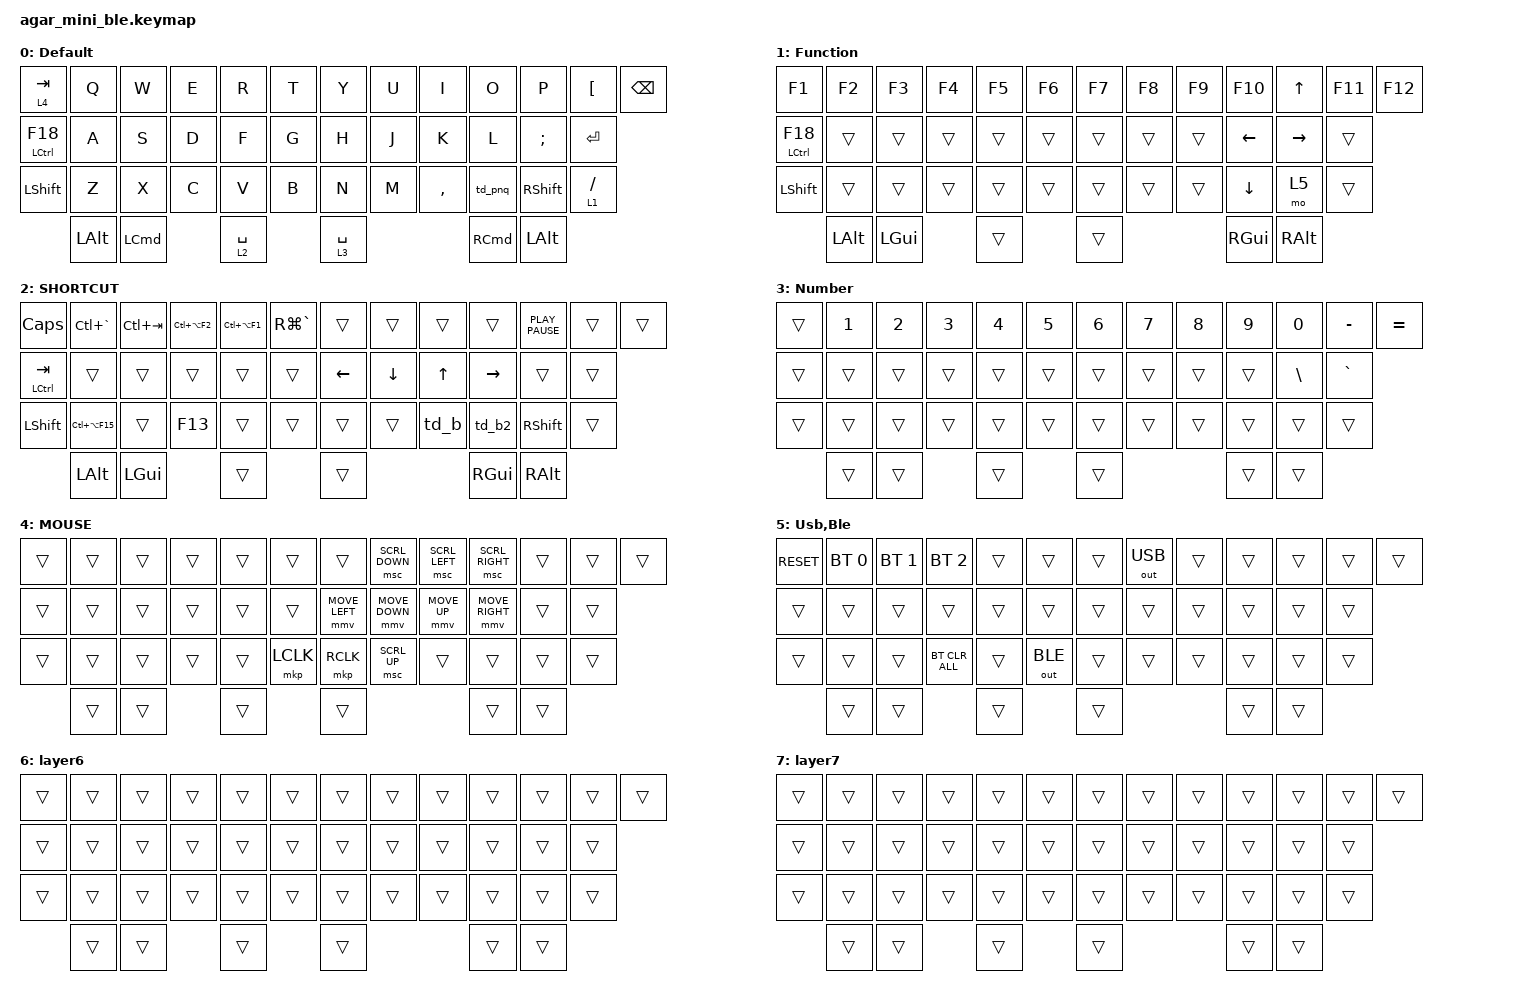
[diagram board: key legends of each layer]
/*
 * Copyright (c) 2021 The ZMK Contributors
 *
 * SPDX-License-Identifier: MIT
 */

#include "./boards/shields/klink_kbd/common.keymap"
#include <behaviors.dtsi>
#include <dt-bindings/zmk/bt.h>
#include <dt-bindings/zmk/keys.h>
#include <dt-bindings/zmk/outputs.h>
#include <dt-bindings/zmk/pointing.h>

/ {
    behaviors {
        hm: homelow_mods {
            compatible = "zmk,behavior-hold-tap";
            label = "HOMELOW_MODS";
            bindings = <&kp>, <&kp>;

            #binding-cells = <2>;
            tapping-term-ms = <200>;
            quick-tap-ms = <130>;
            flavor = "tap-preferred";
        };

        hl: homelow_layer {
            compatible = "zmk,behavior-hold-tap";
            label = "HOMELOW_LAYER";
            bindings = <&mo>, <&kp>;

            #binding-cells = <2>;
            tapping-term-ms = <200>;
            quick-tap-ms = <130>;
            flavor = "tap-preferred";
        };

        htt: htt {
            compatible = "zmk,behavior-hold-tap";
            label = "HTT";
            bindings = <&kp>, <&kp>;

            #binding-cells = <2>;
            tapping-term-ms = <200>;
            quick-tap-ms = <130>;
            flavor = "tap-preferred";
        };

        td_b: td_bracket {
            compatible = "zmk,behavior-tap-dance";
            label = "TD_BRACKET";
            #binding-cells = <0>;
            bindings =
                <&htt LEFT_BRACKET LEFT_PARENTHESIS>,
                <&htt LESS_THAN LEFT_BRACE>;
        };

        td_b2: td_bracket2 {
            compatible = "zmk,behavior-tap-dance";
            label = "TD_BRACKET2";
            #binding-cells = <0>;
            bindings = <&htt RBKT RPAR>, <&htt GT RBRC>;
        };

        td_pnq: td_period,question {
            compatible = "zmk,behavior-tap-dance";
            label = "TD_PERIOD,QUESTION";
            #binding-cells = <0>;
            bindings = <&kp PERIOD>, <&kp SLASH>, <&none>, <&none>;
        };
    };

    combos { compatible = "zmk,combos"; };

    keymap {
        compatible = "zmk,keymap";

        Default {
            bindings = <
&hl 4 TAB             &kp Q         &kp W             &kp E  &kp R        &kp T  &kp Y        &kp U  &kp I      &kp O              &kp P         &kp LEFT_BRACKET  &kp BSPC
&hm LEFT_CONTROL F18  &kp A         &kp S             &kp D  &kp F        &kp G  &kp H        &kp J  &kp K      &kp L              &kp SEMI      &kp RET
&kp LSHFT             &kp Z         &kp X             &kp C  &kp V        &kp B  &kp N        &kp M  &kp COMMA  &td_pnq            &kp RSHIFT    &hl 1 SLASH
                      &kp LEFT_ALT  &kp LEFT_COMMAND         &hl 2 SPACE         &hl 3 SPACE                    &kp RIGHT_COMMAND  &kp LEFT_ALT
            >;
        };

        Function {
            bindings = <
&kp F1                &kp F2    &kp F3    &kp F4  &kp F5  &kp F6  &kp F7  &kp F8  &kp F9  &kp F10   &kp UP     &kp F11  &kp F12
&hm LEFT_CONTROL F18  &trans    &trans    &trans  &trans  &trans  &trans  &trans  &trans  &kp LEFT  &kp RIGHT  &trans
&kp LSHFT             &trans    &trans    &trans  &trans  &trans  &trans  &trans  &trans  &kp DOWN  &mo 5      &trans
                      &kp LALT  &kp LGUI          &trans          &trans                  &kp RGUI  &kp RALT
            >;
        };

        SHORTCUT {
            bindings = <
&kp CAPSLOCK          &kp LC(GRAVE)    &kp LC(TAB)  &kp LC(LA(F2))  &kp LC(LA(F1))  &kp RG(GRAVE)  &trans    &trans    &trans  &trans     &kp K_PLAY_PAUSE  &trans  &trans
&hm LEFT_CONTROL TAB  &trans           &trans       &trans          &trans          &trans         &kp LEFT  &kp DOWN  &kp UP  &kp RIGHT  &trans            &trans
&kp LSHFT             &kp LC(LA(F15))  &trans       &kp F13         &trans          &trans         &trans    &trans    &td_b   &td_b2     &kp RSHFT         &trans
                      &kp LALT         &kp LGUI                     &trans                         &trans                      &kp RGUI   &kp RALT
            >;
        };

        Number {
            bindings = <
&trans  &kp N1  &kp N2  &kp N3  &kp N4  &kp N5  &kp N6  &kp N7  &kp N8  &kp N9  &kp N0    &kp MINUS  &kp EQUAL
&trans  &trans  &trans  &trans  &trans  &trans  &trans  &trans  &trans  &trans  &kp BSLH  &kp GRAVE
&trans  &trans  &trans  &trans  &trans  &trans  &trans  &trans  &trans  &trans  &trans    &trans
        &trans  &trans          &trans          &trans                  &trans  &trans
            >;
        };

        MOUSE {
            bindings = <
&trans  &trans  &trans  &trans  &trans  &trans     &trans          &msc SCRL_DOWN  &msc SCRL_LEFT  &msc SCRL_RIGHT  &trans  &trans  &trans
&trans  &trans  &trans  &trans  &trans  &trans     &mmv MOVE_LEFT  &mmv MOVE_DOWN  &mmv MOVE_UP    &mmv MOVE_RIGHT  &trans  &trans
&trans  &trans  &trans  &trans  &trans  &mkp LCLK  &mkp RCLK       &msc SCRL_UP    &trans          &trans           &trans  &trans
        &trans  &trans          &trans             &trans                                          &trans           &trans
            >;
        };

        Usb,Ble {
            bindings = <
&kp C_RESET  &bt BT_SEL 0  &bt BT_SEL 1  &bt BT_SEL 2    &trans  &trans        &trans  &out OUT_USB  &trans  &trans  &trans  &trans  &trans
&trans       &trans        &trans        &trans          &trans  &trans        &trans  &trans        &trans  &trans  &trans  &trans
&trans       &trans        &trans        &bt BT_CLR_ALL  &trans  &out OUT_BLE  &trans  &trans        &trans  &trans  &trans  &trans
             &trans        &trans                        &trans                &trans                        &trans  &trans
            >;
        };

        layer6 {
            bindings = <
&trans  &trans  &trans  &trans  &trans  &trans  &trans  &trans  &trans  &trans  &trans  &trans  &trans
&trans  &trans  &trans  &trans  &trans  &trans  &trans  &trans  &trans  &trans  &trans  &trans
&trans  &trans  &trans  &trans  &trans  &trans  &trans  &trans  &trans  &trans  &trans  &trans
        &trans  &trans          &trans          &trans                  &trans  &trans
            >;
        };

        layer7 {
            bindings = <
&trans  &trans  &trans  &trans  &trans  &trans  &trans  &trans  &trans  &trans  &trans  &trans  &trans
&trans  &trans  &trans  &trans  &trans  &trans  &trans  &trans  &trans  &trans  &trans  &trans
&trans  &trans  &trans  &trans  &trans  &trans  &trans  &trans  &trans  &trans  &trans  &trans
        &trans  &trans          &trans          &trans                  &trans  &trans
            >;
        };
    };
};
